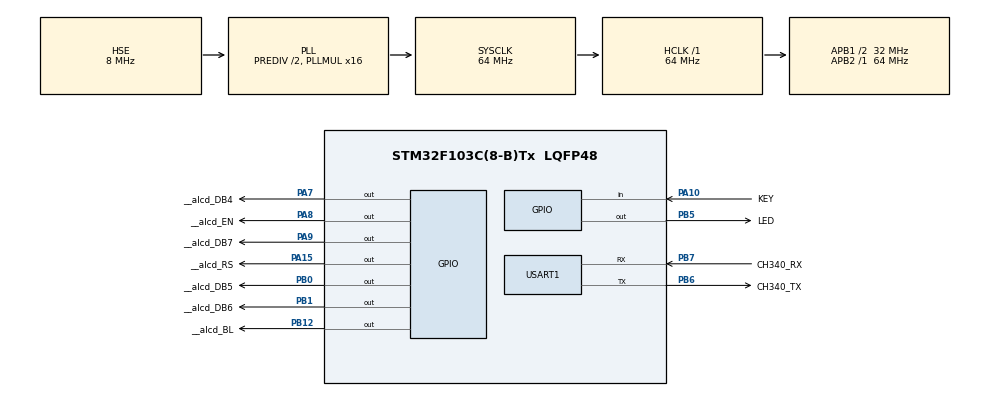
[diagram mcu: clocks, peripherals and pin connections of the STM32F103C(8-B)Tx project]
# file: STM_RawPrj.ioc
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Mcu.Family=STM32F1
Mcu.Name=STM32F103C(8-B)Tx
Mcu.Package=LQFP48
NVIC.PriorityGroup=NVIC_PRIORITYGROUP_4
PA10.GPIO_Label=KEY
PA10.Signal=GPIO_Input
PA13.GPIO_Label=SYS_SWDIO
PA13.Mode=Trace_Asynchronous_SW
PA13.Signal=SYS_JTMS-SWDIO
PA14.GPIO_Label=SYS_SWCLK
PA14.Mode=Trace_Asynchronous_SW
PA14.Signal=SYS_JTCK-SWCLK
PA15.GPIO_Label=__alcd_RS
PA15.Signal=GPIO_Output
PA7.GPIO_Label=__alcd_DB4
PA7.Signal=GPIO_Output
PA8.GPIO_Label=__alcd_EN
PA8.Signal=GPIO_Output
PA9.GPIO_Label=__alcd_DB7
PA9.Signal=GPIO_Output
PB0.GPIO_Label=__alcd_DB5
PB0.Signal=GPIO_Output
PB1.GPIO_Label=__alcd_DB6
PB1.Signal=GPIO_Output
PB12.GPIO_Label=__alcd_BL
PB12.Signal=GPIO_Output
PB3.GPIO_Label=SYS_SWO
PB3.Mode=Trace_Asynchronous_SW
PB3.Signal=SYS_JTDO-TRACESWO
PB5.GPIO_Label=LED
PB5.Signal=GPIO_Output
PB6.GPIO_Label=CH340_TX
PB6.Mode=Asynchronous
PB6.Signal=USART1_TX
PB7.GPIO_Label=CH340_RX
PB7.Mode=Asynchronous
PB7.Signal=USART1_RX
PC14-OSC32_IN.Mode=LSE-External-Oscillator
PC14-OSC32_IN.Signal=RCC_OSC32_IN
PC15-OSC32_OUT.Mode=LSE-External-Oscillator
PC15-OSC32_OUT.Signal=RCC_OSC32_OUT
PD0-OSC_IN.Mode=HSE-External-Oscillator
PD0-OSC_IN.Signal=RCC_OSC_IN
PD1-OSC_OUT.Mode=HSE-External-Oscillator
PD1-OSC_OUT.Signal=RCC_OSC_OUT
ProjectManager.HeapSize=0x200
ProjectManager.StackSize=0x400
ProjectManager.TargetToolchain=MDK-ARM V5.32
RCC.AHBFreq_Value=64000000
RCC.APB1CLKDivider=RCC_HCLK_DIV2
RCC.APB1Freq_Value=32000000
RCC.APB1TimFreq_Value=64000000
RCC.APB2Freq_Value=64000000
RCC.APB2TimFreq_Value=64000000
RCC.EnbaleCSS=true
RCC.HCLKFreq_Value=64000000
RCC.HSEDivPLL=RCC_HSE_PREDIV_DIV2
RCC.HSICalibrationValue=16
RCC.PLLMUL=RCC_PLL_MUL16
RCC.PLLSourceVirtual=RCC_PLLSOURCE_HSE
RCC.RCC_MCOSource=RCC_MCO1SOURCE_HSE
RCC.SYSCLKFreq_VALUE=64000000
RCC.SYSCLKSource=RCC_SYSCLKSOURCE_PLLCLK
RCC.USBFreq_Value=64000000
USART1.VirtualMode=VM_ASYNC
board=custom

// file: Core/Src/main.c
/* USER CODE BEGIN Header */
/**
  ******************************************************************************
  * @file           : main.c
  * @brief          : Main program body
  ******************************************************************************
  * @attention
  *
  * Copyright (c) 2025 STMicroelectronics.
  * All rights reserved.
  *
  * This software is licensed under terms that can be found in the LICENSE file
  * in the root directory of this software component.
  * If no LICENSE file comes with this software, it is provided AS-IS.
  *
  ******************************************************************************
  */
/* USER CODE END Header */
#include "main.h"
#include "usart.h"
#include "gpio.h"

/* USER CODE BEGIN Includes */
#include "aKaReZa.h"
/* USER CODE END Includes */

/* USER CODE BEGIN PV */
uint8_t customChar[] = {
  0x01,
  0x01,
  0x01,
  0x05,
  0x05,
  0x05,
  0x15,
  0x15
};
char alcdBuffer[16];
uint32_t Counter = 0;
/* USER CODE END PV */

void SystemClock_Config(void);

int main(void)
{

  /* MCU Configuration--------------------------------------------------------*/

  /* Reset of all peripherals, Initializes the Flash interface and the Systick. */
  HAL_Init();

  /* Configure the system clock */
  SystemClock_Config();

  /* Initialize all configured peripherals */
  MX_GPIO_Init();
  MX_USART1_UART_Init();
  /* USER CODE BEGIN 2 */
	alcd_init();
//	alcd_customChar(0, customChar);
//	alcd_putc(0);
//	alcd_puts("aKaReZa");
//	HAL_Delay(1000);
//	alcd_clear();
//	HAL_Delay(1000);
//	alcd_gotoxy(0, 0);
//	alcd_putc('X');
//	HAL_Delay(1000);
//	alcd_display(false, false, false);
//	HAL_Delay(1000);
//	alcd_display(true, true, true);

	//alcd_backLight(true);
  /* USER CODE END 2 */

  /* Infinite loop */
  while (1)
  {

    /* USER CODE BEGIN 3 */
		sprintf(alcdBuffer, "Counter=%u", Counter++);
		alcd_gotoxy(0, 0);
		alcd_puts(alcdBuffer);
  }
  /* USER CODE END 3 */
}

void SystemClock_Config(void)
{
  RCC_OscInitTypeDef RCC_OscInitStruct = {0};
  RCC_ClkInitTypeDef RCC_ClkInitStruct = {0};

  /** Initializes the RCC Oscillators according to the specified parameters
  * in the RCC_OscInitTypeDef structure.
  */
  RCC_OscInitStruct.OscillatorType = RCC_OSCILLATORTYPE_HSE;
  RCC_OscInitStruct.HSEState = RCC_HSE_ON;
  RCC_OscInitStruct.HSEPredivValue = RCC_HSE_PREDIV_DIV2;
  RCC_OscInitStruct.HSIState = RCC_HSI_ON;
  RCC_OscInitStruct.PLL.PLLState = RCC_PLL_ON;
  RCC_OscInitStruct.PLL.PLLSource = RCC_PLLSOURCE_HSE;
  RCC_OscInitStruct.PLL.PLLMUL = RCC_PLL_MUL16;
  if (HAL_RCC_OscConfig(&RCC_OscInitStruct) != HAL_OK)
  {
    Error_Handler();
  }

  /** Initializes the CPU, AHB and APB buses clocks
  */
  RCC_ClkInitStruct.ClockType = RCC_CLOCKTYPE_HCLK|RCC_CLOCKTYPE_SYSCLK
                              |RCC_CLOCKTYPE_PCLK1|RCC_CLOCKTYPE_PCLK2;
  RCC_ClkInitStruct.SYSCLKSource = RCC_SYSCLKSOURCE_PLLCLK;
  RCC_ClkInitStruct.AHBCLKDivider = RCC_SYSCLK_DIV1;
  RCC_ClkInitStruct.APB1CLKDivider = RCC_HCLK_DIV2;
  RCC_ClkInitStruct.APB2CLKDivider = RCC_HCLK_DIV1;

  if (HAL_RCC_ClockConfig(&RCC_ClkInitStruct, FLASH_LATENCY_2) != HAL_OK)
  {
    Error_Handler();
  }

  /** Enables the Clock Security System
  */
  HAL_RCC_EnableCSS();
}

void Error_Handler(void)
{
  __disable_irq();
  while (1)
  {
  }
}
